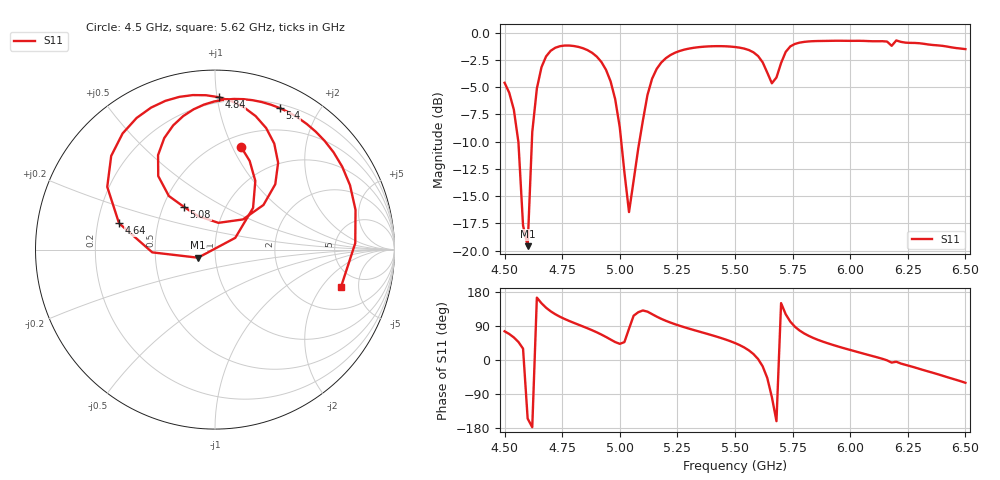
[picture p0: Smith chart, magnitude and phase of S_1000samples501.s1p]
! TOUCHSTONE file generated by CST MICROWAVE STUDIO
! Date and time: Fri Oct 28 09:29:43 2022
! Project name: L.cst
! Parameters = {Di=1.27; Epsilon_r=1.56; InnerDiameter=1.27; Length=2; Lf=10; Lg=60; OuterConductorThickness=0.2921; OuterDiameter=3.6; Wf=3; Wp=41.2; de=1.5; df=6.8; g=0.8; gx=0.434464; gy=2.06634; h=2.34; hf=1.524; px=13.623; py=11.3846; w=9.7; wx=13.1885; wy=9.31822}
! Header version: 2018
! Port assignment regex: !\s*Touchstone port\s*([0-9]+)\s*=\s*(CST MWS port|CST DS port)\s*([0-9]+|Zmin|Zmax)\s*\(\"(.*)\"\)(\s*mode\s*([0-9]+))?.*
! Touchstone port assignment:
! Touchstone port 1 = CST MWS port 1 ("")
# GHz S DB R 50
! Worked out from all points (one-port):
!   101 points, 4.5 GHz to 6.5 GHz, reference 50 ohm
!   lowest |S11| = -19.6 dB at 4.6 GHz (marker M1), VSWR 1.23, Z = 41.2 - j3.76 ohm
!   |S11| at or under -10 dB: 4.56 GHz to 4.618 GHz (58.62 MHz wide, 1.28 % of centre); 5.006 GHz to 5.085 GHz (78.62 MHz wide, 1.56 % of centre)
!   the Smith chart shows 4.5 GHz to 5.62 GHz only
!   S11 on the Smith chart (normalised r, x): 4.5 GHz: 0.62, +1.08; 4.64 GHz: 0.29, +0.12; 4.84 GHz: 0.17, +1.01; 5.08 GHz: 0.64, +0.33; 5.4 GHz: 0.24, +1.53; 5.62 GHz: 3.50, -3.15
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4.5  -4.59 75.7
4.56  -10.04 47.6
4.58  -17.68 30.1
4.6  -19.59 -154.5
4.62  -9.12 -177.5
4.64  -5.12 164.6
4.7  -1.65 128.5
4.76  -1.17 108.4
4.84  -1.42 88.5
4.94  -3.39 60.8
5  -8.70 42.6
5.04  -16.46 82.7
5.08  -10.63 126.0
5.14  -4.22 121.1
5.26  -1.67 90.3
5.4  -1.24 65.3
5.5  -1.31 44.8
5.56  -1.58 25.5
5.62  -2.71 -16.6
5.64  -3.65 -47.3
5.66  -4.64 -97.8
5.68  -4.10 -161.5
5.72  -1.76 120.8
5.76  -1.03 87.8
5.86  -0.76 53.2
6  -0.74 26.5
6.26  -0.93 -16.1
6.5  -1.50 -60.1
